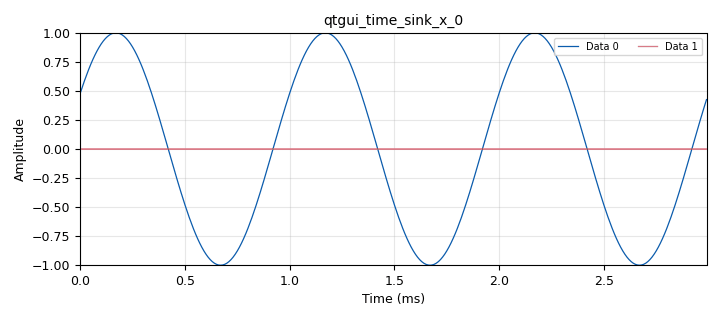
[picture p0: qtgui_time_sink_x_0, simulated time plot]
<?xml version='1.0' encoding='utf-8'?>
<?grc format='1' created='3.7.11'?>
<flow_graph>
<block>
<key>options</key>
<param><key>id</key><value>top_block</value></param>
<param><key>generate_options</key><value>qt_gui</value></param>
</block>
<block>
<key>variable_qtgui_range</key>
<param><key>id</key><value>data_rate</value></param>
<param><key>value</key><value>2e3</value></param>
<param><key>orient</key><value>Qt.Horizontal</value></param>
<param><key>start</key><value>0</value></param>
<param><key>step</key><value>100</value></param>
<param><key>stop</key><value>2e3</value></param>
</block>
<block>
<key>variable_qtgui_range</key>
<param><key>id</key><value>freq</value></param>
<param><key>value</key><value>1e3</value></param>
<param><key>orient</key><value>Qt.Horizontal</value></param>
<param><key>start</key><value>0</value></param>
<param><key>step</key><value>1</value></param>
<param><key>stop</key><value>2e3</value></param>
</block>
<block>
<key>variable</key>
<param><key>id</key><value>samp_rate</value></param>
<param><key>value</key><value>100e3</value></param>
</block>
<block>
<key>analog_sig_source_x</key>
<param><key>id</key><value>analog_sig_source_x_0</value></param>
<param><key>amp</key><value>1</value></param>
<param><key>freq</key><value>freq</value></param>
<param><key>offset</key><value>0</value></param>
<param><key>type</key><value>float</value></param>
<param><key>samp_rate</key><value>samp_rate</value></param>
<param><key>waveform</key><value>analog.GR_COS_WAVE</value></param>
</block>
<block>
<key>qtgui_time_sink_x</key>
<param><key>id</key><value>qtgui_time_sink_x_0</value></param>
<param><key>color1</key><value>"blue"</value></param>
<param><key>label1</key><value></value></param>
<param><key>color2</key><value>"red"</value></param>
<param><key>label2</key><value></value></param>
<param><key>nconnections</key><value>2</value></param>
<param><key>size</key><value>300</value></param>
<param><key>srate</key><value>samp_rate</value></param>
<param><key>tr_level</key><value>0.5</value></param>
<param><key>tr_mode</key><value>qtgui.TRIG_MODE_AUTO</value></param>
<param><key>type</key><value>float</value></param>
<param><key>update_time</key><value>0.5</value></param>
</block>
<block>
<key>rational_resampler_xxx</key>
<param><key>id</key><value>rational_resampler_xxx_0</value></param>
<param><key>decim</key><value>int(samp_rate/data_rate)</value></param>
<param><key>interp</key><value>1</value></param>
<param><key>taps</key><value></value></param>
<param><key>type</key><value>fff</value></param>
</block>
<block>
<key>rational_resampler_xxx</key>
<param><key>id</key><value>rational_resampler_xxx_1</value></param>
<param><key>decim</key><value>1</value></param>
<param><key>interp</key><value>int(samp_rate/data_rate)</value></param>
<param><key>taps</key><value></value></param>
<param><key>type</key><value>fff</value></param>
</block>
<connection><source_block_id>analog_sig_source_x_0</source_block_id><sink_block_id>qtgui_time_sink_x_0</sink_block_id><source_key>0</source_key><sink_key>0</sink_key></connection>
<connection><source_block_id>analog_sig_source_x_0</source_block_id><sink_block_id>rational_resampler_xxx_0</sink_block_id><source_key>0</source_key><sink_key>0</sink_key></connection>
<connection><source_block_id>rational_resampler_xxx_0</source_block_id><sink_block_id>rational_resampler_xxx_1</sink_block_id><source_key>0</source_key><sink_key>0</sink_key></connection>
<connection><source_block_id>rational_resampler_xxx_1</source_block_id><sink_block_id>qtgui_time_sink_x_0</sink_block_id><source_key>0</source_key><sink_key>1</sink_key></connection>
</flow_graph>
